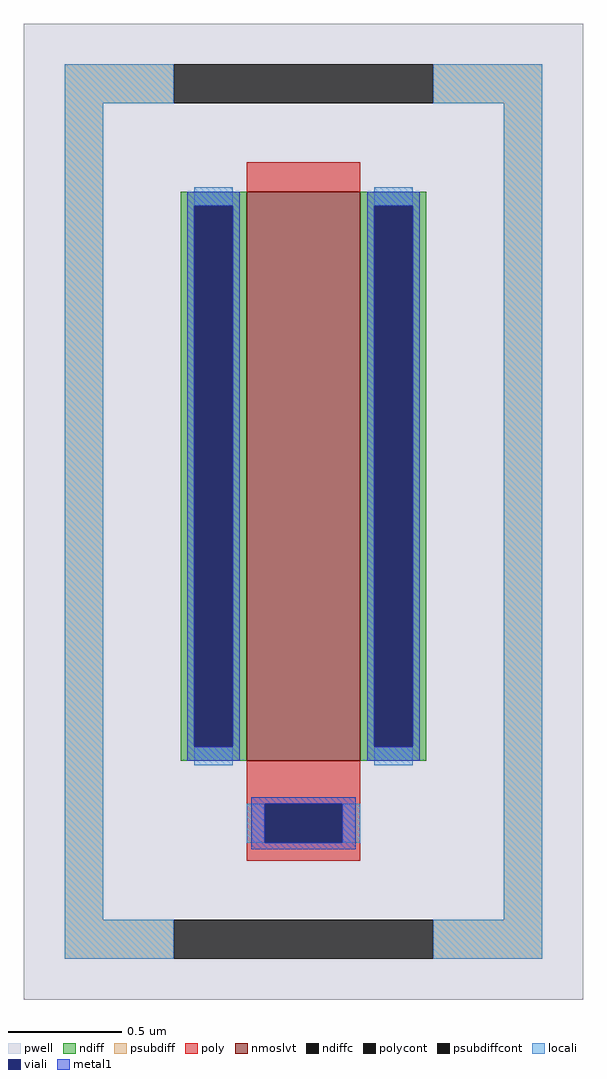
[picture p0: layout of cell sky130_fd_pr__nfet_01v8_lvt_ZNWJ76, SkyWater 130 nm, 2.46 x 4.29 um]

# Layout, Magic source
magic
tech sky130A
magscale 1 2
<< pwell >>
rect -246 -429 246 429
<< nmoslvt >>
rect -50 -219 50 281
<< ndiff >>
rect -108 269 -50 281
rect -108 -207 -96 269
rect -62 -207 -50 269
rect -108 -219 -50 -207
rect 50 269 108 281
rect 50 -207 62 269
rect 96 -207 108 269
rect 50 -219 108 -207
<< ndiffc >>
rect -96 -207 -62 269
rect 62 -207 96 269
<< psubdiff >>
rect -210 359 -114 393
rect 114 359 210 393
rect -210 -359 -176 359
rect 176 -359 210 359
rect -210 -393 -114 -359
rect 114 -393 210 -359
<< psubdiffcont >>
rect -114 359 114 393
rect -114 -393 114 -359
<< poly >>
rect -50 281 50 307
rect -50 -257 50 -219
rect -50 -291 -34 -257
rect 34 -291 50 -257
rect -50 -307 50 -291
<< polycont >>
rect -34 -291 34 -257
<< locali >>
rect -210 359 -114 393
rect 114 359 210 393
rect -210 -359 -176 359
rect -96 269 -62 285
rect -96 -223 -62 -207
rect 62 269 96 285
rect 62 -223 96 -207
rect -50 -291 -34 -257
rect 34 -291 50 -257
rect 176 -359 210 359
rect -210 -393 -114 -359
rect 114 -393 210 -359
<< viali >>
rect -96 -207 -62 269
rect 62 -207 96 269
rect -34 -291 34 -257
<< metal1 >>
rect -102 269 -56 281
rect -102 -207 -96 269
rect -62 -207 -56 269
rect -102 -219 -56 -207
rect 56 269 102 281
rect 56 -207 62 269
rect 96 -207 102 269
rect 56 -219 102 -207
rect -46 -257 46 -251
rect -46 -291 -34 -257
rect 34 -291 46 -257
rect -46 -297 46 -291
<< properties >>
string FIXED_BBOX -193 -376 193 376
string gencell sky130_fd_pr__nfet_01v8_lvt
string library sky130
string parameters w 2.5 l 0.5 m 1 nf 1 diffcov 100 polycov 100 guard 1 glc 0 grc 0 gtc 1 gbc 1 tbcov 100 rlcov 100 topc 0 botc 1 poverlap 0 doverlap 1 lmin 0.15 wmin 0.42 compatible {sky130_fd_pr__nfet_01v8 sky130_fd_pr__nfet_01v8_lvt  sky130_fd_bs_flash__special_sonosfet_star  sky130_fd_pr__nfet_g5v0d10v5 sky130_fd_pr__nfet_05v0_nvt  sky130_fd_pr__nfet_03v3_nvt} full_metal 1 viasrc 100 viadrn 100 viagate 100 viagb 0 viagr 0 viagl 0 viagt 0
<< end >>
